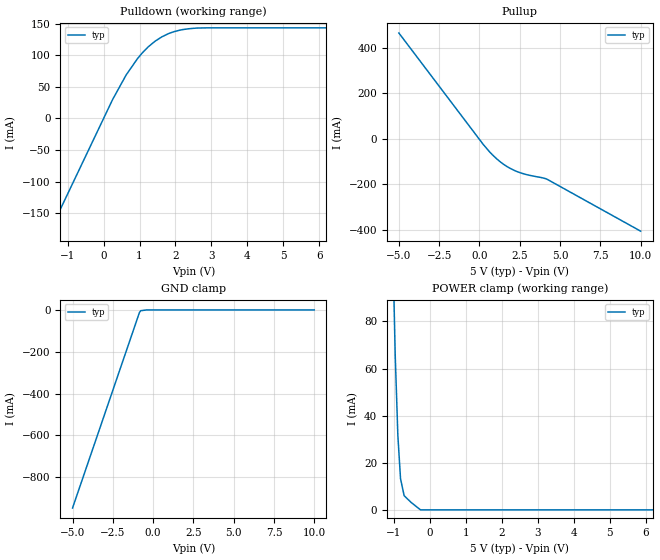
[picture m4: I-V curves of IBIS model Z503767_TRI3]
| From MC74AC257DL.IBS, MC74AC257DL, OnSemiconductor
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| (C) COPYRIGHT 1993-2000
| MENTOR GRAPHICS CORPORATION
| ICX STANDARD LIBRARY, ICX PROJECT MODELING,
| ICX CUSTOM MODELING, ICX VENDOR MODEL
| ALL RIGHTS RESERVED.
| THE FOLLOWING ARE TRADEMARKS OR SERVICE MARKS OF
| MENTOR GRAPHICS CORPORATION:ICX (R), ICX STANDARD
| LIBRARY(R), ICX PROJECT MODELING(R), ICX CUSTOM
| MODELING(R), qualityIBIS(TM), MODELVIEWER(TM),
| AND MODELEDITOR(TM)
| ALL COPIES OF SOFTWARE, INCLUDING BUT NOT LIMITED TO
| ANY MODIFICATIONS, ENHANCEMENTS OR DERIVATIVE WORKS,
| MUST CONTAIN ALL MENTOR GRAPHICS CORPORATION'S
| NOTICES AND LEGENDS, INCLUDING THOSE EMBEDDED IN
| SOFTWARE AND THOSE AFFIXED TO SOFTWARE MEDIUM
| AND CONTAINER, AS RECEIVED FROM MENTOR GRAPHICS
| CORPORATION.
| Model Application Version 1.89 2/18/99.
[Model] Z503767_TRI3
Model_type 3-state
Vref=0.000V
Rref=500.0ohms
Cref=50.00pF
Vmeas=2.500V
C_comp 8.000pF NA NA
| variable typ   min   max
[Voltage Range] 5.000V NA NA
[POWER Clamp Reference] 5.000V NA NA
[Pullup Reference] 5.000V NA NA
[Pulldown Reference] 0.000V NA NA
[GND Clamp Reference] 0.000V NA NA
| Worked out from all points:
|   slope of the pulldown table from 0 to 0.75 V, typ, clamps not added: 9.51 ohm
|   slope of the pullup table from 0 to 0.75 V, typ, clamps not added: 11.8 ohm
[GND Clamp]
-5V       -946.5mA   NA         NA
-847.2mV  -12.2mA    NA         NA
-764.1mV  -3.682mA   NA         NA
-382.1mV  0A         NA         NA
10V       0A         NA         NA
[Pulldown]
-5V       -597.2mA   NA         NA
253.9mV   30.3mA     NA         NA
629.9mV   69.03mA    NA         NA
943mV     94.68mA    NA         NA
1.074V    103.6mA    NA         NA
1.24V     113.3mA    NA         NA
1.43V     122.2mA    NA         NA
1.816V    134.6mA    NA         NA
2.208V    140.8mA    NA         NA
2.646V    143.3mA    NA         NA
10V       143.5mA    NA         NA
[Pullup]
-5V       465.8mA    NA         NA
235mV     -24.62mA   NA         NA
805mV     -70.35mA   NA         NA
1.328V    -103.3mA   NA         NA
1.9V      -129.8mA   NA         NA
2.362V    -145mA     NA         NA
4.169V    -176.8mA   NA         NA
10V       -406.4mA   NA         NA
[POWER Clamp]
-5V       2.812A     NA         NA
-966mV    65.91mA    NA         NA
-892mV    31.54mA    NA         NA
-818mV    13.26mA    NA         NA
-718mV    6.039mA    NA         NA
-522mV    3.131mA    NA         NA
-261mV    0A         NA         NA
10V       0A         NA         NA
[Ramp]
| variable typ min max
dV/dt_r 2.954/308.8p NA NA
dV/dt_f 2.954/315.0p NA NA
R_load = 500.0Ohms
